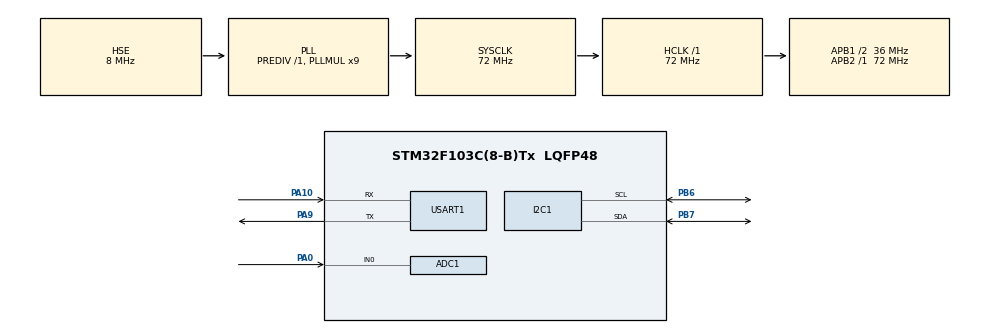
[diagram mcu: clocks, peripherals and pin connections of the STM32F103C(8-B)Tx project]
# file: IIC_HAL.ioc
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ADC1.Channel-0\#ChannelRegularConversion=ADC_CHANNEL_0
ADC1.ContinuousConvMode=ENABLE
ADC1.NbrOfConversionFlag=1
ADC1.Rank-0\#ChannelRegularConversion=1
ADC1.SamplingTime-0\#ChannelRegularConversion=ADC_SAMPLETIME_1CYCLE_5
ADC1.master=1
Dma.ADC1.0.Direction=DMA_PERIPH_TO_MEMORY
Dma.ADC1.0.Instance=DMA1_Channel1
Dma.ADC1.0.MemDataAlignment=DMA_MDATAALIGN_HALFWORD
Dma.ADC1.0.MemInc=DMA_MINC_DISABLE
Dma.ADC1.0.Mode=DMA_CIRCULAR
Dma.ADC1.0.PeriphDataAlignment=DMA_PDATAALIGN_HALFWORD
Dma.ADC1.0.PeriphInc=DMA_PINC_DISABLE
Dma.ADC1.0.Priority=DMA_PRIORITY_MEDIUM
Dma.Request0=ADC1
Mcu.Family=STM32F1
Mcu.Name=STM32F103C(8-B)Tx
Mcu.Package=LQFP48
NVIC.PriorityGroup=NVIC_PRIORITYGROUP_4
NVIC.TIM1_UP_IRQn=true\:0\:0\:false\:false\:true\:true\:true\:true
NVIC.USART1_IRQn=true\:0\:0\:false\:false\:true\:true\:true\:true
PA0-WKUP.Signal=ADCx_IN0
PA10.Mode=Asynchronous
PA10.Signal=USART1_RX
PA13.Mode=Serial_Wire
PA13.Signal=SYS_JTMS-SWDIO
PA14.Mode=Serial_Wire
PA14.Signal=SYS_JTCK-SWCLK
PA9.Mode=Asynchronous
PA9.Signal=USART1_TX
PB6.Mode=I2C
PB6.Signal=I2C1_SCL
PB7.Mode=I2C
PB7.Signal=I2C1_SDA
PD0-OSC_IN.Mode=HSE-External-Oscillator
PD0-OSC_IN.Signal=RCC_OSC_IN
PD1-OSC_OUT.Mode=HSE-External-Oscillator
PD1-OSC_OUT.Signal=RCC_OSC_OUT
ProjectManager.HeapSize=0x200
ProjectManager.StackSize=0x400
ProjectManager.TargetToolchain=MDK-ARM V5.32
RCC.ADCPresc=RCC_ADCPCLK2_DIV6
RCC.AHBFreq_Value=72000000
RCC.APB1CLKDivider=RCC_HCLK_DIV2
RCC.APB1Freq_Value=36000000
RCC.APB1TimFreq_Value=72000000
RCC.APB2Freq_Value=72000000
RCC.APB2TimFreq_Value=72000000
RCC.HCLKFreq_Value=72000000
RCC.PLLMUL=RCC_PLL_MUL9
RCC.PLLSourceVirtual=RCC_PLLSOURCE_HSE
RCC.SYSCLKFreq_VALUE=72000000
RCC.SYSCLKSource=RCC_SYSCLKSOURCE_PLLCLK
RCC.USBFreq_Value=72000000
SH.ADCx_IN0.0=ADC1_IN0,IN0
TIM1.Period=10000
TIM1.Prescaler=7199
USART1.VirtualMode=VM_ASYNC
VP_TIM1_VS_ClockSourceINT.Mode=Internal
board=custom

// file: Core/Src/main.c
/* USER CODE BEGIN Header */
/**
  ******************************************************************************
  * @file           : main.c
  * @brief          : Main program body
  ******************************************************************************
  * @attention
  *
  * Copyright (c) 2026 STMicroelectronics.
  * All rights reserved.
  *
  * This software is licensed under terms that can be found in the LICENSE file
  * in the root directory of this software component.
  * If no LICENSE file comes with this software, it is provided AS-IS.
  *
  ******************************************************************************
  */
/* USER CODE END Header */
#include "main.h"
#include "adc.h"
#include "dma.h"
#include "i2c.h"
#include "tim.h"
#include "usart.h"
#include "gpio.h"

/* USER CODE BEGIN Includes */
#include "oled_hal.h"
/* USER CODE END Includes */

/* USER CODE BEGIN PD */
void OLED_DrawWave(uint16_t *buf, uint16_t len);
void Wave_AddPoint(uint16_t new_val);
/* USER CODE END PD */

void SystemClock_Config(void);
/* USER CODE BEGIN PFP */
volatile uint8_t ADC_flag=0;
volatile uint8_t ADC_Mode=2;
uint16_t wave_buf[256]={2048};
uint16_t wave_idx = 0;
/* USER CODE END PFP */

/* USER CODE BEGIN 0 */
uint16_t ADC_READ[1];
/* USER CODE END 0 */

int main(void)
{
  /* USER CODE BEGIN 1 */

const static uint16_t arr1[2]={0,4095};        //方波
uint8_t arr1_index=0; //指向arr1的第几个元素 索引

static const uint16_t arr2[256] = {                                     //正弦
  2048, 2098, 2148, 2198, 2248, 2298, 2348, 2397,
  2447, 2496, 2545, 2594, 2642, 2690, 2737, 2784,
  2831, 2877, 2923, 2968, 3013, 3057, 3100, 3143,
  3185, 3226, 3267, 3307, 3346, 3385, 3423, 3460,
  3496, 3531, 3565, 3599, 3631, 3663, 3693, 3722,
  3750, 3777, 3803, 3828, 3852, 3874, 3895, 3915,
  3934, 3951, 3968, 3982, 3996, 4008, 4019, 4028,
  4036, 4043, 4048, 4052, 4055, 4056, 4056, 4055,
  4052, 4048, 4043, 4036, 4028, 4019, 4008, 3996,
  3982, 3968, 3951, 3934, 3915, 3895, 3874, 3852,
  3828, 3803, 3777, 3750, 3722, 3693, 3663, 3631,
  3599, 3565, 3531, 3496, 3460, 3423, 3385, 3346,
  3307, 3267, 3226, 3185, 3143, 3100, 3057, 3013,
  2968, 2923, 2877, 2831, 2784, 2737, 2690, 2642,
  2594, 2545, 2496, 2447, 2397, 2348, 2298, 2248,
  2198, 2148, 2098, 2048, 1998, 1948, 1898, 1848,
  1798, 1748, 1699, 1649, 1600, 1551, 1502, 1454,
  1406, 1359, 1312, 1265, 1219, 1173, 1128, 1083,
  1039, 996,  953,  911,  870,  829,  789,  750,
  711,  673,  636,  600,  565,  531,  497,  465,
  433,  403,  374,  346,  319,  293,  268,  244,
  222,  201,  181,  162,  145,  128,  113,  100,
   88,   77,   68,   60,   53,   48,   44,   41,
   40,   40,   41,   44,   48,   53,   60,   68,
   77,   88,  100,  113,  128,  145,  162,  181,
  201,  222,  244,  268,  293,  319,  346,  374,
  403,  433,  465,  497,  531,  565,  600,  636,
  673,  711,  750,  789,  829,  870,  911,  953,
  996, 1039, 1083, 1128, 1173, 1219, 1265, 1312,
  1359, 1406, 1454, 1502, 1551, 1600, 1649, 1699,
  1748, 1798, 1848, 1898, 1948, 1998,
};
uint16_t arr2_index=0; //指向arr2的第几个元素 索引

//给uint16_t方便后续判断，避免溢出

//三角
static const uint16_t arr3[256] = {
    0,   32,   64,   96,  128,  160,  192,  224,
  256,  288,  320,  352,  384,  416,  448,  480,
  512,  544,  576,  608,  640,  672,  704,  736,
  768,  800,  832,  864,  896,  928,  960,  992,
 1024, 1056, 1088, 1120, 1152, 1184, 1216, 1248,
 1280, 1312, 1344, 1376, 1408, 1440, 1472, 1504,
 1536, 1568, 1600, 1632, 1664, 1696, 1728, 1760,
 1792, 1824, 1856, 1888, 1920, 1952, 1984, 2016,
 2048, 2080, 2112, 2144, 2176, 2208, 2240, 2272,
 2304, 2336, 2368, 2400, 2432, 2464, 2496, 2528,
 2560, 2592, 2624, 2656, 2688, 2720, 2752, 2784,
 2816, 2848, 2880, 2912, 2944, 2976, 3008, 3040,
 3072, 3104, 3136, 3168, 3200, 3232, 3264, 3296,
 3328, 3360, 3392, 3424, 3456, 3488, 3520, 3552,
 3584, 3616, 3648, 3680, 3712, 3744, 3776, 3808,
 3840, 3872, 3904, 3936, 3968, 4000, 4032, 4064,
 4095, 4064, 4032, 4000, 3968, 3936, 3904, 3872,
 3840, 3808, 3776, 3744, 3712, 3680, 3648, 3616,
 3584, 3552, 3520, 3488, 3456, 3424, 3392, 3360,
 3328, 3296, 3264, 3232, 3200, 3168, 3136, 3104,
 3072, 3040, 3008, 2976, 2944, 2912, 2880, 2848,
 2816, 2784, 2752, 2720, 2688, 2656, 2624, 2592,
 2560, 2528, 2496, 2464, 2432, 2400, 2368, 2336,
 2304, 2272, 2240, 2208, 2176, 2144, 2112, 2080,
 2048, 2016, 1984, 1952, 1920, 1888, 1856, 1824,
 1792, 1760, 1728, 1696, 1664, 1632, 1600, 1568,
 1536, 1504, 1472, 1440, 1408, 1376, 1344, 1312,
 1280, 1248, 1216, 1184, 1152, 1120, 1088, 1056,
 1024,  992,  960,  928,  896,  864,  832,  800,
  768,  736,  704,  672,  640,  608,  576,  544,
  512,  480,  448,  416,  384,  352,  320,  288,
  256,  224,  192,  160,  128,   96,   64,   32
};

uint16_t arr3_index=0; //指向arr3的第几个元素 索引

  /* USER CODE END 1 */

  /* MCU Configuration--------------------------------------------------------*/

  /* Reset of all peripherals, Initializes the Flash interface and the Systick. */
  HAL_Init();

  /* Configure the system clock */
  SystemClock_Config();

  /* Initialize all configured peripherals */
  MX_GPIO_Init();
  MX_DMA_Init();
  MX_USART1_UART_Init();
  MX_TIM1_Init();
  MX_I2C1_Init();
  MX_ADC1_Init();
  /* USER CODE BEGIN 2 */
ssd1306_Init(SSD1306_SWITCHCAPVCC);
HAL_TIM_Base_Start_IT(&htim1);
HAL_ADC_Start_DMA(&hadc1,(uint32_t *)ADC_READ,1);

  /* USER CODE END 2 */

  /* Infinite loop */
  /* USER CODE BEGIN WHILE */
  while (1)
  {
if (ADC_flag==1)
{
switch (ADC_Mode)
{
case 1 :
  DAC_writebytes(&(arr1[arr1_index]));
// printf("transfer=%d\n",(arr1[arr1_index]));
  if (++arr1_index==2)
  {
  arr1_index=0;
  }
  break;

case 2:
  DAC_writebytes(&(arr2[arr2_index]));
// printf("transfer=%d\n",(arr2[arr2_index]));
  if (++arr2_index==246)
  {
  arr2_index=0;
  }
break;

case 3:
  DAC_writebytes(&(arr3[arr3_index]));

  if (++arr3_index==256)
  {
  arr3_index=0;
  }
break;

default:
  break;
}

Wave_AddPoint(ADC_READ[0]);
ADC_flag=0;

    /* USER CODE END WHILE */

    /* USER CODE BEGIN 3 */
  }
    /* USER CODE BEGIN 3 */

  /* USER CODE END 3 */
}
}

void SystemClock_Config(void)
{
  RCC_OscInitTypeDef RCC_OscInitStruct = {0};
  RCC_ClkInitTypeDef RCC_ClkInitStruct = {0};
  RCC_PeriphCLKInitTypeDef PeriphClkInit = {0};

  /** Initializes the RCC Oscillators according to the specified parameters
  * in the RCC_OscInitTypeDef structure.
  */
  RCC_OscInitStruct.OscillatorType = RCC_OSCILLATORTYPE_HSE;
  RCC_OscInitStruct.HSEState = RCC_HSE_ON;
  RCC_OscInitStruct.HSEPredivValue = RCC_HSE_PREDIV_DIV1;
  RCC_OscInitStruct.HSIState = RCC_HSI_ON;
  RCC_OscInitStruct.PLL.PLLState = RCC_PLL_ON;
  RCC_OscInitStruct.PLL.PLLSource = RCC_PLLSOURCE_HSE;
  RCC_OscInitStruct.PLL.PLLMUL = RCC_PLL_MUL9;
  if (HAL_RCC_OscConfig(&RCC_OscInitStruct) != HAL_OK)
  {
    Error_Handler();
  }

  /** Initializes the CPU, AHB and APB buses clocks
  */
  RCC_ClkInitStruct.ClockType = RCC_CLOCKTYPE_HCLK|RCC_CLOCKTYPE_SYSCLK
                              |RCC_CLOCKTYPE_PCLK1|RCC_CLOCKTYPE_PCLK2;
  RCC_ClkInitStruct.SYSCLKSource = RCC_SYSCLKSOURCE_PLLCLK;
  RCC_ClkInitStruct.AHBCLKDivider = RCC_SYSCLK_DIV1;
  RCC_ClkInitStruct.APB1CLKDivider = RCC_HCLK_DIV2;
  RCC_ClkInitStruct.APB2CLKDivider = RCC_HCLK_DIV1;

  if (HAL_RCC_ClockConfig(&RCC_ClkInitStruct, FLASH_LATENCY_2) != HAL_OK)
  {
    Error_Handler();
  }
  PeriphClkInit.PeriphClockSelection = RCC_PERIPHCLK_ADC;
  PeriphClkInit.AdcClockSelection = RCC_ADCPCLK2_DIV6;
  if (HAL_RCCEx_PeriphCLKConfig(&PeriphClkInit) != HAL_OK)
  {
    Error_Handler();
  }
}

void Error_Handler(void)
{
  __disable_irq();
  while (1)
  {
  }
}

void OLED_DrawWave(uint16_t *buf, uint16_t len)
{
    int16_t screenW = oled_getWidth();   // 屏幕宽度，比如 128
    int16_t screenH = oled_getHeight();  // 屏幕高度，比如 64

    if (len < 2 || screenH < 2) return;

    // 清屏
    ssd1306_clearScreen();

    // 画一条水平中线作为参考线
    ssd1306_drawLine(0, screenH / 2, screenW - 1, screenH / 2, WHITE);

    // 计算第一个点的 Y 坐标
    int16_t last_x = 0;
    int16_t last_y = (int16_t)(screenH - 1 - ((uint32_t)buf[0] * (screenH - 1) / 4095));

    // 从屏幕第 1 列开始，逐列画线
    for (int16_t x = 1; x < screenW; x++)
    {
        // 根据当前屏幕列 x，反推应该取数据数组里的第几个点
        uint32_t src = (uint32_t)x * (len - 1) / (screenW - 1);
        if (src >= len) src = len - 1;

        // 计算当前列对应的 Y 坐标
        int16_t y = (int16_t)(screenH - 1 - ((uint32_t)buf[src] * (screenH - 1) / 4095));

        // 从上一列的点画线到当前列的点
        ssd1306_drawLine(last_x, last_y, x, y, WHITE);

        // 更新“上一列的点”
        last_x = x;
        last_y = y;
    }

    ssd1306_updateScreen();
}

void Wave_AddPoint(uint16_t new_val)
{
    // 将所有点左移一位，丢弃最左边的旧数据
    for (uint16_t i = 0; i < 256 - 1; i++)
        wave_buf[i] = wave_buf[i + 1];

    // 新数据放在最右边
    wave_buf[256 - 1] = new_val;

    // 重绘整个波形
    OLED_DrawWave(wave_buf, 256);
}
